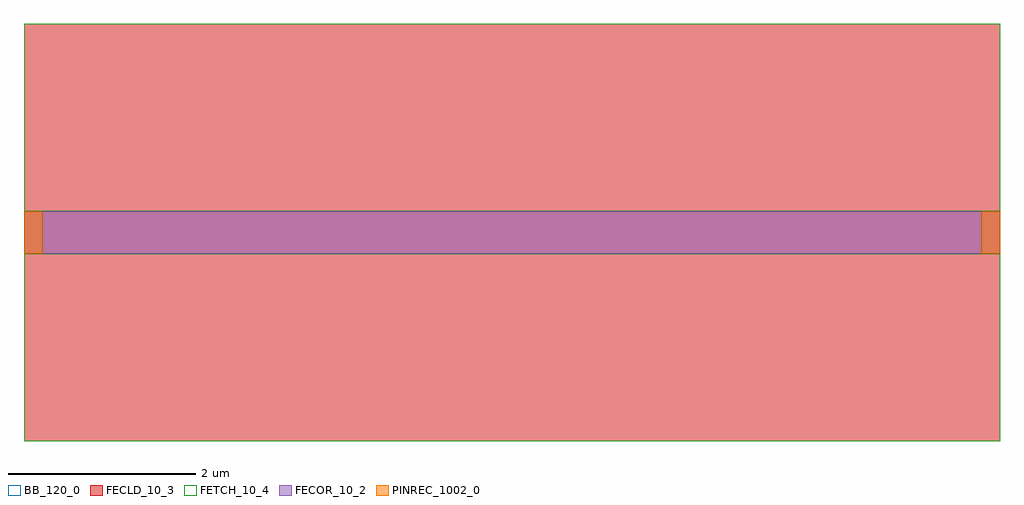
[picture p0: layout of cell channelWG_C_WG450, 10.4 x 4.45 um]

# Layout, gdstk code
import gdstk
lib = gdstk.Library(unit=1e-6, precision=1e-09)
def R(c, l, rs):  # rectangles x0, y0, x1, y1
    for r in rs: c.add(gdstk.rectangle(r[:2], r[2:], *l))
FECOR_10_2 = (10, 2)
FECLD_10_3 = (10, 3)
FETCH_10_4 = (10, 4)
BB_120_0 = (120, 0)
PINREC_1002_0 = (1002, 0)

channelwg_c_wg450 = lib.new_cell('channelWG_C_WG450')
R(channelwg_c_wg450, FECOR_10_2, [(-0.2,-0.225,0,0.225), (0,-0.225,10,0.225), (10,-0.225,10.2,0.225)])
R(channelwg_c_wg450, FECLD_10_3, [(-0.2,-2.225,0,2.225), (0,-2.225,10,2.225), (10,-2.225,10.2,2.225)])
R(channelwg_c_wg450, FETCH_10_4, [(-0.2,-2.225,10.2,-0.225), (-0.2,0.225,10.2,2.225)])
R(channelwg_c_wg450, BB_120_0, [(-0.2,-2.225,10.2,2.225)])
R(channelwg_c_wg450, PINREC_1002_0, [(-0.2,-0.225,0,0.225), (10,-0.225,10.2,0.225)])

lib.write_gds('channelWG_C_WG450.gds')
